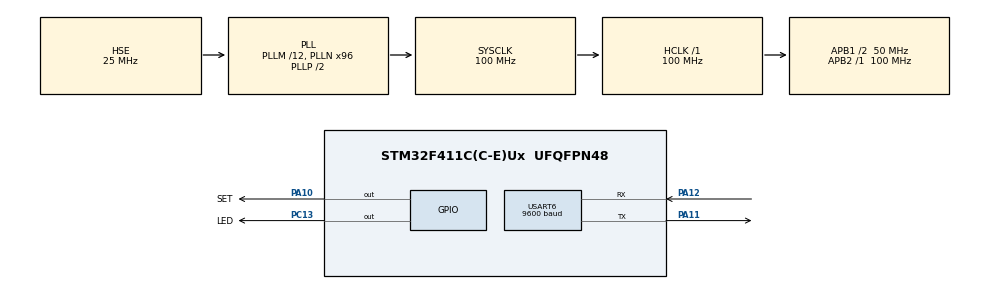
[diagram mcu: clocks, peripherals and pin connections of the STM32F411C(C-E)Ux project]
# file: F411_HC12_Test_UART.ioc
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Dma.Request0=USART6_TX
Dma.USART6_TX.0.Direction=DMA_MEMORY_TO_PERIPH
Dma.USART6_TX.0.FIFOMode=DMA_FIFOMODE_DISABLE
Dma.USART6_TX.0.Instance=DMA2_Stream6
Dma.USART6_TX.0.MemDataAlignment=DMA_MDATAALIGN_BYTE
Dma.USART6_TX.0.MemInc=DMA_MINC_ENABLE
Dma.USART6_TX.0.Mode=DMA_NORMAL
Dma.USART6_TX.0.PeriphDataAlignment=DMA_PDATAALIGN_BYTE
Dma.USART6_TX.0.PeriphInc=DMA_PINC_DISABLE
Dma.USART6_TX.0.Priority=DMA_PRIORITY_LOW
Mcu.Family=STM32F4
Mcu.Name=STM32F411C(C-E)Ux
Mcu.Package=UFQFPN48
NVIC.DMA2_Stream6_IRQn=true\:0\:0\:false\:false\:true\:false\:true\:true
NVIC.PriorityGroup=NVIC_PRIORITYGROUP_4
NVIC.TIM4_IRQn=true\:0\:0\:false\:false\:true\:true\:true\:true
NVIC.USART6_IRQn=true\:0\:0\:false\:false\:true\:true\:true\:true
PA10.GPIO_Label=SET
PA10.Signal=GPIO_Output
PA11.Mode=Asynchronous
PA11.Signal=USART6_TX
PA12.Mode=Asynchronous
PA12.Signal=USART6_RX
PA13.Mode=Trace_Asynchronous_SW
PA13.Signal=SYS_JTMS-SWDIO
PA14.Mode=Trace_Asynchronous_SW
PA14.Signal=SYS_JTCK-SWCLK
PB3.Mode=Trace_Asynchronous_SW
PB3.Signal=SYS_JTDO-SWO
PC13-ANTI_TAMP.GPIO_Label=LED
PC13-ANTI_TAMP.Signal=GPIO_Output
PC14-OSC32_IN.Mode=LSE-External-Oscillator
PC14-OSC32_IN.Signal=RCC_OSC32_IN
PC15-OSC32_OUT.Mode=LSE-External-Oscillator
PC15-OSC32_OUT.Signal=RCC_OSC32_OUT
PH0\ -\ OSC_IN.Mode=HSE-External-Oscillator
PH0\ -\ OSC_IN.Signal=RCC_OSC_IN
PH1\ -\ OSC_OUT.Mode=HSE-External-Oscillator
PH1\ -\ OSC_OUT.Signal=RCC_OSC_OUT
ProjectManager.HeapSize=0x200
ProjectManager.StackSize=0x400
ProjectManager.TargetToolchain=STM32CubeIDE
RCC.48MHZClocksFreq_Value=50000000
RCC.AHBFreq_Value=100000000
RCC.APB1CLKDivider=RCC_HCLK_DIV2
RCC.APB1Freq_Value=50000000
RCC.APB1TimFreq_Value=100000000
RCC.APB2Freq_Value=100000000
RCC.APB2TimFreq_Value=100000000
RCC.CortexFreq_Value=100000000
RCC.HCLKFreq_Value=100000000
RCC.HSE_VALUE=25000000
RCC.HSI_VALUE=16000000
RCC.PLLM=12
RCC.PLLN=96
RCC.PLLSourceVirtual=RCC_PLLSOURCE_HSE
RCC.SYSCLKFreq_VALUE=100000000
RCC.SYSCLKSource=RCC_SYSCLKSOURCE_PLLCLK
RCC.VCOOutputFreq_Value=200000000
TIM4.AutoReloadPreload=TIM_AUTORELOAD_PRELOAD_ENABLE
TIM4.Period=999
TIM4.Prescaler=999
USART6.BaudRate=9600
USART6.VirtualMode=VM_ASYNC
VP_TIM4_VS_ClockSourceINT.Mode=Internal
board=custom

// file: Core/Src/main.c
/* USER CODE BEGIN Header */
/**
  ******************************************************************************
  * @file           : main.c
  * @brief          : Main program body
  ******************************************************************************
  * @attention
  *
  * Copyright (c) 2023 STMicroelectronics.
  * All rights reserved.
  *
  * This software is licensed under terms that can be found in the LICENSE file
  * in the root directory of this software component.
  * If no LICENSE file comes with this software, it is provided AS-IS.
  *
  ******************************************************************************
  */
/* USER CODE END Header */
#include "main.h"
#include "dma.h"
#include "tim.h"
#include "usart.h"
#include "gpio.h"

/* USER CODE BEGIN Includes */
#include "stdio.h"
#include "string.h"
/* USER CODE END Includes */

/* USER CODE BEGIN PV */
volatile uint8_t TELEMETRY_RDY = 0;

/* USER CODE END PV */

void SystemClock_Config(void);

int main(void)
{

  /* MCU Configuration--------------------------------------------------------*/

  /* Reset of all peripherals, Initializes the Flash interface and the Systick. */
  HAL_Init();

  /* Configure the system clock */
  SystemClock_Config();

  /* Initialize all configured peripherals */
  MX_GPIO_Init();
  MX_DMA_Init();
  MX_TIM4_Init();
  MX_USART6_UART_Init();
  /* USER CODE BEGIN 2 */
  HAL_TIM_Base_Start_IT(&htim4);
  HAL_GPIO_WritePin(SET_GPIO_Port, SET_Pin, GPIO_PIN_SET);

  HAL_Delay(1000);

  /* USER CODE END 2 */

  /* Infinite loop */
  while (1)
  {

    /* USER CODE BEGIN 3 */

		if(TELEMETRY_RDY) {
			char s[50] = {0};
			sprintf(s, "%s, %s!\n", "Hello", "World");
			uint8_t len = strlen(s);
			HAL_UART_Transmit_DMA(&huart6, (const uint8_t*) s, len);
			TELEMETRY_RDY = 0;
		}
  }
  /* USER CODE END 3 */
}

void SystemClock_Config(void)
{
  RCC_OscInitTypeDef RCC_OscInitStruct = {0};
  RCC_ClkInitTypeDef RCC_ClkInitStruct = {0};

  /** Configure the main internal regulator output voltage
  */
  __HAL_RCC_PWR_CLK_ENABLE();
  __HAL_PWR_VOLTAGESCALING_CONFIG(PWR_REGULATOR_VOLTAGE_SCALE1);

  /** Initializes the RCC Oscillators according to the specified parameters
  * in the RCC_OscInitTypeDef structure.
  */
  RCC_OscInitStruct.OscillatorType = RCC_OSCILLATORTYPE_HSE;
  RCC_OscInitStruct.HSEState = RCC_HSE_ON;
  RCC_OscInitStruct.PLL.PLLState = RCC_PLL_ON;
  RCC_OscInitStruct.PLL.PLLSource = RCC_PLLSOURCE_HSE;
  RCC_OscInitStruct.PLL.PLLM = 12;
  RCC_OscInitStruct.PLL.PLLN = 96;
  RCC_OscInitStruct.PLL.PLLP = RCC_PLLP_DIV2;
  RCC_OscInitStruct.PLL.PLLQ = 4;
  if (HAL_RCC_OscConfig(&RCC_OscInitStruct) != HAL_OK)
  {
    Error_Handler();
  }

  /** Initializes the CPU, AHB and APB buses clocks
  */
  RCC_ClkInitStruct.ClockType = RCC_CLOCKTYPE_HCLK|RCC_CLOCKTYPE_SYSCLK
                              |RCC_CLOCKTYPE_PCLK1|RCC_CLOCKTYPE_PCLK2;
  RCC_ClkInitStruct.SYSCLKSource = RCC_SYSCLKSOURCE_PLLCLK;
  RCC_ClkInitStruct.AHBCLKDivider = RCC_SYSCLK_DIV1;
  RCC_ClkInitStruct.APB1CLKDivider = RCC_HCLK_DIV2;
  RCC_ClkInitStruct.APB2CLKDivider = RCC_HCLK_DIV1;

  if (HAL_RCC_ClockConfig(&RCC_ClkInitStruct, FLASH_LATENCY_3) != HAL_OK)
  {
    Error_Handler();
  }
}

/* USER CODE BEGIN 4 */

void HAL_TIM_PeriodElapsedCallback(TIM_HandleTypeDef *htim)
{
  static uint8_t Counter_10ms = 1;
  // Check which version of the timer triggered this callback and toggle LED
  if (htim == &htim4 ){

	  if (Counter_10ms == 20) {
		  HAL_GPIO_TogglePin(LED_GPIO_Port, LED_Pin);
		  TELEMETRY_RDY = 1;
		  Counter_10ms = 0;
	  }

	  Counter_10ms++;

  }
}
/* USER CODE END 4 */

void Error_Handler(void)
{
  __disable_irq();
  while (1)
  {
  }
}
